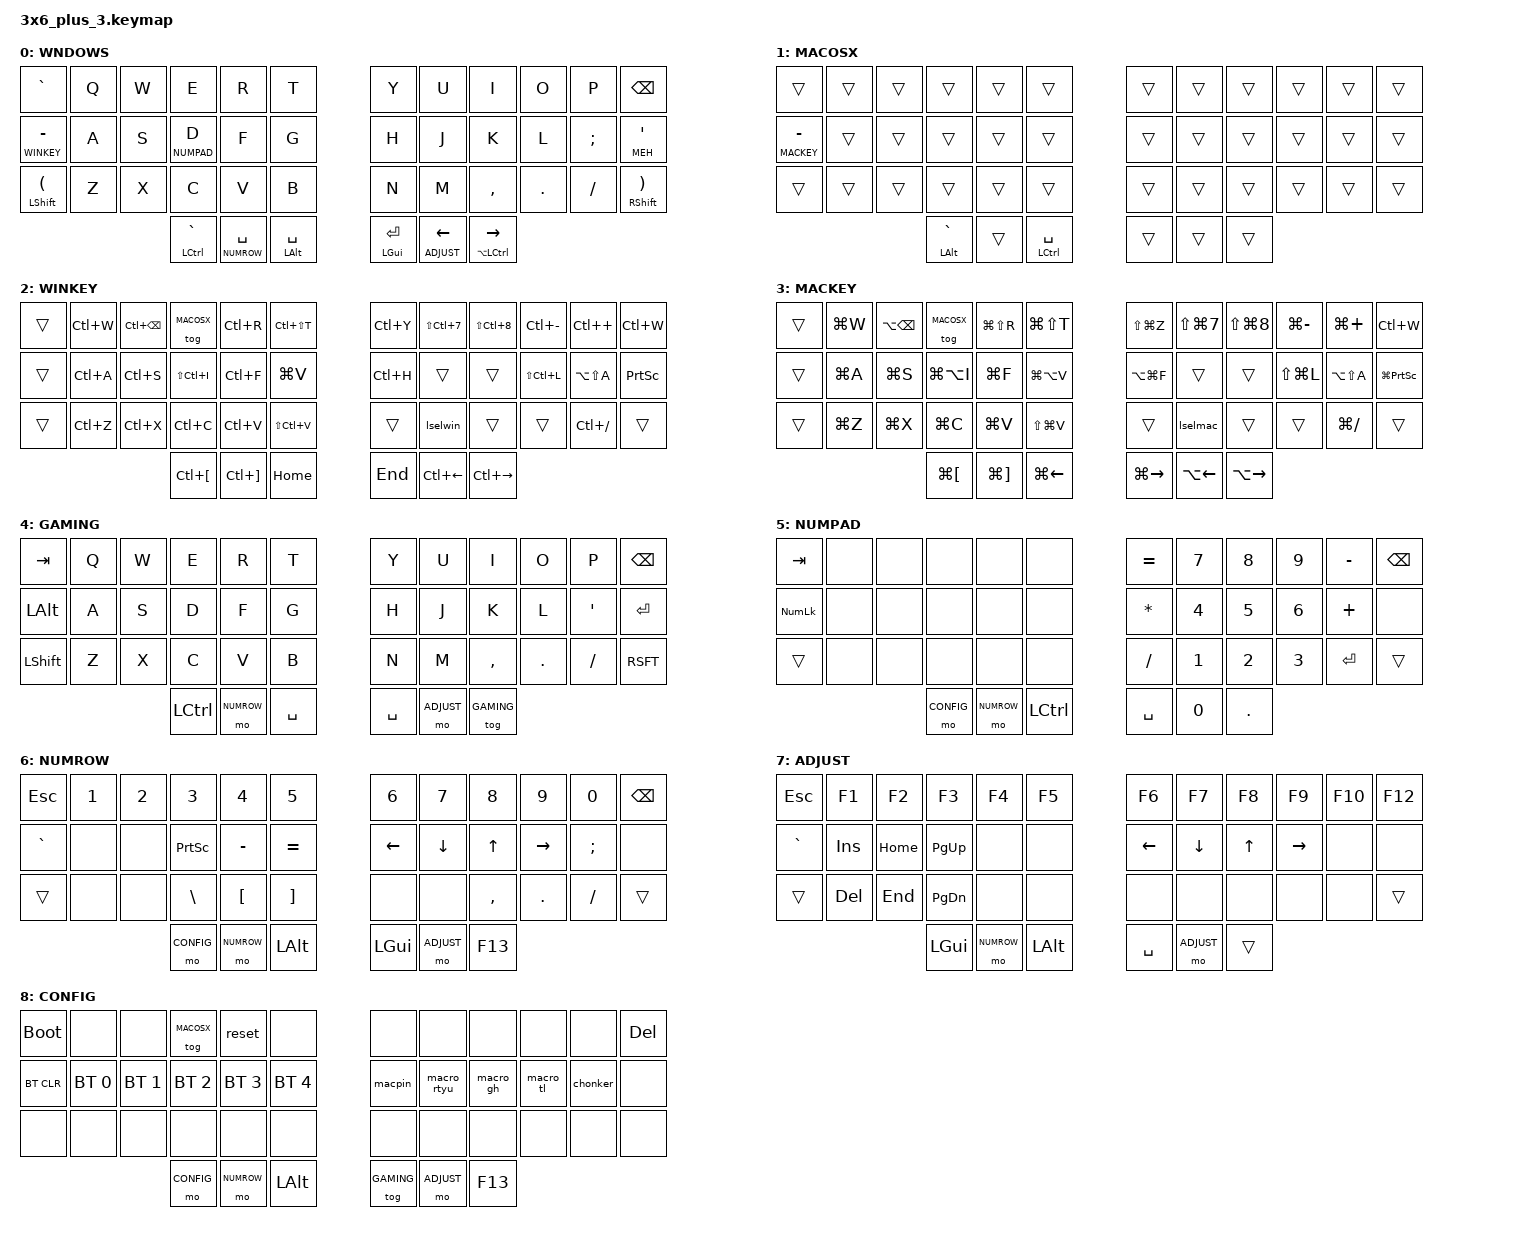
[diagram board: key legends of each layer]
/*
*
* Copyright (c) 2021 scrthq
* SPDX-License-Identifier: MIT
*
*/

#include <behaviors.dtsi>
#include <dt-bindings/zmk/keys.h>
#include <dt-bindings/zmk/bt.h>

#include "include_macros.h"
#include "include_layers.h"

&mt {
    quick-tap-ms = <200>;
};

&lt {
    flavor = "balanced";
    tapping-term-ms = <200>;
    quick-tap-ms = <200>;
};

&caps_word {
    continue-list = <UNDERSCORE MINUS>;
};

/ {
    behaviors {
        macro_rtyu: macro_rtyu {
            compatible = "zmk,behavior-macro";
            label = "mac_rtyu";
            #binding-cells = <0>;
            bindings = mac_rtyu;
        };
        macro_gh: macro_gh {
            compatible = "zmk,behavior-macro";
            label = "mac_gh";
            #binding-cells = <0>;
            bindings = mac_gh;
        };
        macro_test_zeroes: macro_test_zeroes {
            compatible = "zmk,behavior-macro";
            label = "test_zeroes";
            #binding-cells = <0>;
            bindings = test_zeroes;
        };
        macro_tl: macro_tl {
            compatible = "zmk,behavior-macro";
            label = "mac_tl";
            #binding-cells = <0>;
            bindings = mac_tl;
        };
        lselmac: macro_language_select_mac {
            compatible = "zmk,behavior-macro";
            label = "LSELMAC";
            #binding-cells = <0>;
            bindings = <&kp LG(K)>, <&kp M>;
        };
        lselwin: macro_language_select_win {
            compatible = "zmk,behavior-macro";
            label = "LSELWIN";
            #binding-cells = <0>;
            bindings = <&kp LC(K)>, <&kp M>;
        };
        chonker: macro_chonker {
            compatible = "zmk,behavior-macro";
            label = "CHONKER";
            #binding-cells = <0>;
            bindings = chonk;
        };
        macpin: macro_mpin {
            compatible = "zmk,behavior-macro";
            label = "MPIN";
            #binding-cells = <0>;
            bindings = mpin;
        };
        lht: long_hold_tap {
            compatible = "zmk,behavior-hold-tap";
            label = "LONG_HOLDTAP";
            #binding-cells = <2>;
            tapping-term-ms = <200>;
            quick-tap-ms = <100>;
            flavor = "balanced";
            bindings = <&kp>, <&kp>;
        };
    };

    combos {
        compatible = "zmk,combos";

        combo_esc {
            timeout-ms = <50>;
            key-positions = <0 1>;
            bindings = <&kp ESC>;
            layers = <WNDOWS MACOSX>;
        };

        combo_ctgrv {
            timeout-ms = <50>;
            key-positions = <0 1 2>;
            bindings = <&kp LC(GRAVE)>;
            layers = <WNDOWS MACOSX>;
        };

        combo_capsword {
            timeout-ms = <50>;
            key-positions = <12 23>;
            bindings = <&caps_word>;
            layers = <WNDOWS MACOSX>;
        };
    };

    conditional_layers {
        compatible = "zmk,conditional-layers";
    };

    keymap {
        compatible = "zmk,keymap";

        default_layer {
            label = "WNDOWS";
            bindings = <
//+---------+---------+---------+---------+---------+---------+                              +---------+---------+---------+---------+---------+---------+
//!   `     |    Q    |    W    |    E    |    R    |    T    |                              |    Y    |    U    |    I    |    O    |    P    |  BKSPC  |
//+         |         |         |         |         |         |                              |         |         |         |         |         |         |
//+---------|---------|---------|---------|---------|---------|                              |---------|---------|---------|---------|---------|---------|
//!    -    |    A    |    S    |    D    |    F    |    G    |                              |    H    |    J    |    K    |    L    |    ;    |    '    |
//+ >WINKEY |         |         | >NUMPAD |         |         |                              |         |         |         |         |         |   MEH   |
//+---------|---------|---------|---------|---------|---------|                              |---------|---------|---------|---------|---------|---------|
//!    (    |    Z    |    X    |    C    |    V    |    B    |                              |    N    |    M    |    ,    |    .    |    /    |    )    |
//+  SHIFT  |         |         |         |         |         |                              |         |         |         |         |         |  SHIFT  |
//+---------+---------+---------|---------|---------|---------|---------+          +---------|---------|---------|---------|---------+---------+---------+
//!                                       |  GRAVE  |  SPACE  |  SPACE  |          |  ENTER  |   <--   |   -->   |
//+                                       |   CTL   | >NUMROW |   ALT   |          |   GUI   | >ADJUST | CTL+ALT |
//+                                       +---------+---------+---------+          +---------+---------+---------+
&kp GRAVE          &kp Q  &kp W &kp E        &kp R     &kp T                         &kp Y    &kp U     &kp I     &kp O       &kp P    &kp BKSP
&lt WINKEY MINUS &kp A  &kp S &lt NUMPAD D &kp F     &kp G                         &kp H    &kp J     &kp K     &kp L       &kp SEMI &lht MEH SQT
&mt LSHIFT LPAR  &kp Z  &kp X &kp C        &kp V     &kp B                         &kp N    &kp M     &kp CMMA  &kp DOT     &kp FSLH &mt RSHIFT RPAR
            &mt LCTL GRAVE    &lt NUMROW SPC         &mt LALT SPC                  &mt LGUI ENTER     &lt ADJUST LEFT_ARROW          &mt LA(LCTL) RIGHT_ARROW
            >;
        };

        macos_layer {
            label = "MACOSX";
            bindings = <
//+---------+---------+---------+---------+---------+---------+                              +---------+---------+---------+---------+---------+---------+
//!   TAB   |    Q    |    W    |    E    |    R    |    T    |                              |    Y    |    U    |    I    |    O    |    P    |  BKSPC  |
//+         |         |         |         |         |         |                              |         |         |         |         |         |         |
//+---------|---------|---------|---------|---------|---------|                              |---------|---------|---------|---------|---------|---------|
//!    -    |    A    |    S    |    D    |    F    |    G    |                              |    H    |    J    |    K    |    L    |    ;    |    '    |
//+ >MACKEY |         |         | >NUMPAD |         |         |                              |         |         |         |         |         |   MEH   |
//+---------|---------|---------|---------|---------|---------|                              |---------|---------|---------|---------|---------|---------|
//!    (    |    Z    |    X    |    C    |    V    |    B    |                              |    N    |    M    |    ,    |    .    |    /    |    )    |
//+  SHIFT  |         |         |         |         |         |                              |         |         |         |         |         |  SHIFT  |
//+---------+---------+---------|---------|---------|---------|---------+          +---------|---------|---------|---------|---------+---------+---------+
//!                                       |  GRAVE  |  SPACE  |  SPACE  |          |  ENTER  |   <--   |   -->   |
//+                                       |   ALT   | >NUMROW |   CTL   |          |   GUI   | >ADJUST | CTL+ALT |
//+                                       +---------+---------+---------+          +---------+---------+---------+
    &trans    &trans    &trans    &trans    &trans     &trans                        &trans    &trans    &trans    &trans   &trans     &trans
&lt MACKEY MINUS &trans &trans    &trans    &trans     &trans                        &trans    &trans    &trans    &trans   &trans     &trans
    &trans    &trans    &trans    &trans    &trans     &trans                        &trans    &trans    &trans    &trans   &trans     &trans
                            &mt LALT GRAVE  &trans  &mt LCTL SPC                     &trans    &trans    &trans
            >;
        };


        winkey_layer {
            label = "WINKEY";
            bindings = <
//+---------+---------+---------+---------+---------+---------+                              +---------+---------+---------+---------+---------+---------+
//!         |    Q    |    W    |    E    |    R    |    T    |                              |    Y    |    U    |    I    |    O    |    P    |         |
//+         |close tab|del 1 wrd|toggle OS|relod tab|reopn tab|                              |   undo  |ord list |bull list| zoom -  | zoom +  |  CTL+W  |
//+---------|---------|---------|---------|---------|---------|                              |---------|---------|---------|---------|---------|---------|
//!         |    A    |    S    |    D    |    F    |    G    |                              |    H    |    J    |    K    |    L    |    ;    |         |
//+         |selct all|   save  |dev tools|  find   |clipboard|                              |find repl|         |         | hi-light|blok cmnt|prntscrn |
//+---------|---------|---------|---------|---------|---------|                              |---------|---------|---------|---------|---------|---------|
//!         |    Z    |    X    |    C    |    V    |    B    |                              |    N    |    M    |    ,    |    .    |    /    |         |
//+         |  undo   |   cut   |   copy  |  paste  |paste pln|                              |         |lang slct|         |         | cmd + / |         |
//+---------+---------+---------|---------|---------|---------|---------+          +---------|---------|---------|---------|---------+---------+---------+
//!                                       |         |         |         |          |        |   <--   |   -->   |
//+                                       | dedent  |  indent |   home  |          |   end   |left1word|rght1word|
//+                                       +---------+---------+---------+          +---------+---------+---------+
&trans  &kp LC(W) &kp LC(BKSP) &tog MACOSX   &kp LC(R) &kp LC(LS(T))         &kp LC(Y) &kp LS(LC(N7)) &kp LS(LC(N8)) &kp LC(MINUS) &kp LC(PLUS)  &kp LC(W)
&trans  &kp LC(A) &kp LC(S)    &kp LS(LC(I)) &kp LC(F) &kp LG(V)             &kp LC(H) &trans         &trans         &kp LS(LC(L)) &kp LA(LS(A)) &kp PRINTSCREEN
&trans  &kp LC(Z) &kp LC(X)    &kp LC(C)     &kp LC(V) &kp LS(LC(V))         &trans    &lselwin       &trans         &trans        &kp LC(FSLH) &trans
                &kp LC(LEFT_BRACKET) &kp LC(RIGHT_BRACKET)  &kp HOME           &kp END   &kp LC(LEFT)   &kp LC(RIGHT)
            >;
        };

        mackey_layer {
            label = "MACKEY";
            bindings = <
//+---------+---------+---------+---------+---------+---------+                              +---------+---------+---------+---------+---------+---------+
//!   TAB   |    Q    |    W    |    E    |    R    |    T    |                              |    Y    |    U    |    I    |    O    |    P    |         |
//+         |close tab|del 1 wrd|toggle OS|relod tab|reopn tab|                              |   undo  |ord list |bull list| zoom -  | zoom +  |  CTL+W  |
//+---------|---------|---------|---------|---------|---------|                              |---------|---------|---------|---------|---------|---------|
//!         |    A    |    S    |    D    |    F    |    G    |                              |    H    |    J    |    K    |    L    |    ;    |         |
//+         |selct all|   save  |dev tools|  find   |clipboard|                              |find repl|         |         | hi-light|blok cmnt|prntscrn |
//+---------|---------|---------|---------|---------|---------|                              |---------|---------|---------|---------|---------|---------|
//!         |    Z    |    X    |    C    |    V    |    B    |                              |    N    |    M    |    ,    |    .    |    /    |         |
//+         |  undo   |   cut   |   copy  |  paste  |paste pln|                              |         |lang slct|         |         | cmd + / |         |
//+---------+---------+---------|---------|---------|---------|---------+          +---------|---------|---------|---------|---------+---------+---------+
//!                                       |         |         |         |          |         |   <--   |   -->   |
//+                                       | dedent  |  indent |   home  |          |   end   |left1word|rght1word|
//+                                       +---------+---------+---------+          +---------+---------+---------+
&trans   &kp LG(W) &kp LA(BKSP) &tog MACOSX   &kp LG(LS(R)) &kp LG(LS(T))     &kp LS(LG(Z)) &kp LS(LG(N7)) &kp LS(LG(N8)) &kp LG(MINUS) &kp LG(PLUS)  &kp LC(W)
&trans   &kp LG(A) &kp LG(S)    &kp LG(LA(I)) &kp LG(F)     &kp LG(LA(V))     &kp LA(LG(F)) &trans         &trans         &kp LS(LG(L)) &kp LA(LS(A)) &kp LG(PRINTSCREEN)
&trans   &kp LG(Z) &kp LG(X)    &kp LG(C)     &kp LG(V)     &kp LS(LG(V))     &trans        &lselmac       &trans         &trans        &kp LG(FSLH)  &trans
                &kp LG(LEFT_BRACKET) &kp LG(RIGHT_BRACKET)  &kp LG(LEFT)      &kp LG(RIGHT)  &kp LA(LEFT) &kp LA(RIGHT)
            >;
        };

        gaming_layer {
            label = "GAMING";
            bindings = <
//+---------+---------+---------+---------+---------+---------+                              +---------+---------+---------+---------+---------+---------+
//!   TAB   |    Q    |    W    |    E    |    R    |    T    |                              |    Y    |    U    |    I    |    O    |    P    |  BKSPC  |
//+         |         |         |         |         |         |                              |         |         |         |         |         |         |
//+---------|---------|---------|---------|---------|---------|                              |---------|---------|---------|---------|---------|---------|
//!   ALT   |    A    |    S    |    D    |    F    |    G    |                              |    H    |    J    |    K    |    L    |    '    |  ENTER  |
//+         |         |         |         |         |         |                              |         |         |         |         |         |         |
//+---------|---------|---------|---------|---------|---------|                              |---------|---------|---------|---------|---------|---------|
//!  SHIFT  |    Z    |    X    |    C    |    V    |    B    |                              |    N    |    M    |    ,    |    .    |    /    |  SHIFT  |
//+         |         |         |         |         |         |                              |         |         |         |         |         |         |
//+---------+---------+---------|---------|---------|---------|---------+          +---------|---------|---------|---------|---------+---------+---------+
//!                                       |   CTL   | >NUMROW |  SPACE  |          |  SPACE  | >ADJUST | TOGGLE  |
//+                                       |         |         |         |          |         |         | GAMING  |
//+                                       +---------+---------+---------+          +---------+---------+---------+
                &kp TAB   &kp Q &kp W &kp E &kp R &kp T    &kp Y &kp U &kp I    &kp O   &kp P    &kp BKSP
                &kp LALT  &kp A &kp S &kp D &kp F &kp G    &kp H &kp J &kp K    &kp L   &kp QUOT &kp ENTER
                &kp LSHFT &kp Z &kp X &kp C &kp V &kp B    &kp N &kp M &kp CMMA &kp DOT &kp FSLH &kp RSFT
                            &kp LCTL &mo NUMROW &kp SPC    &kp SPC &mo ADJUST &tog GAMING
            >;
        };

        numpad_layer {
            label = "NUMPAD";
            bindings = <
//+---------+---------+---------+---------+---------+---------+                              +---------+---------+---------+---------+---------+---------+
//!   TAB   |         |         |         |         |         |                              |    =    |    7    |    8    |    9    |    -    |  BKSPC  |
//+         |         |         |         |         |         |                              |         |         |         |         |         |         |
//+---------|---------|---------|---------|---------|---------|                              |---------|---------|---------|---------|---------|---------|
//! NUMLOCK |         |         |         |         |         |                              |    *    |    4    |    5    |    6    |    +    |         |
//+         |         |         |         |         |         |                              |         |         |         |         |         |         |
//+---------|---------|---------|---------|---------|---------|                              |---------|---------|---------|---------|---------|---------|
//!  SHIFT  |         |         |         |         |         |                              |    /    |    1    |    2    |    3    |  ENTER  |  SHIFT  |
//+         |         |         |         |         |         |                              |         |         |         |         |         |         |
//+---------+---------+---------|---------|---------|---------|---------+          +---------|---------|---------|---------|---------+---------+---------+
//!                                       | >CONFIG | >NUMROW |  SPACE  |          |  SPACE  |    0    |    .    |
//+                                       |         |         |         |          |         |         |         |
//+                                       +---------+---------+---------+          +---------+---------+---------+
                &kp TAB     &none &none &none &none &none    &kp EQUAL    &kp N7   &kp N8   &kp N9   &kp MINUS &kp BSPC
                &kp KP_NLCK &none &none &none &none &none    &kp ASTERISK &kp N4   &kp N5   &kp N6   &kp PLUS  &none
                &trans      &none &none &none &none &none    &kp FSLH     &kp N1   &kp N2   &kp N3   &kp ENTER &trans
                        &mo CONFIG &mo NUMROW &kp LCTL    &kp SPC &kp N0 &kp DOT
            >;
        };

        numrow_layer {
            label = "NUMROW";
            bindings = <
//+---------+---------+---------+---------+---------+---------+                              +---------+---------+---------+---------+---------+---------+
//!   ESC   |    1    |    2    |    3    |    4    |    5    |                              |    6    |    7    |    8    |    9    |    0    |  BKSPC  |
//+         |         |         |         |         |         |                              |         |         |         |         |         |         |
//+---------|---------|---------|---------|---------|---------|                              |---------|---------|---------|---------|---------|---------|
//!  GRAVE  |         |         | SCRNSHT |    -    |    =    |                              |    ←    |    ↑    |    ↓    |    →    |    +    |         |
//+         |         |         |         |         |         |                              |         |         |         |         |         |         |
//+---------|---------|---------|---------|---------|---------|                              |---------|---------|---------|---------|---------|---------|
//!  SHIFT  |         |         |    \    |    [    |    ]    |                              |         |         |    ,    |    .    |    /    |  SHIFT  |
//+         |         |         |         |         |         |                              |         |         |         |         |         |         |
//+---------+---------+---------|---------|---------|---------|---------+          +---------|---------|---------|---------|---------+---------+---------+
//!                                       | >CONFIG | >NUMROW |  SPACE  |          |   GUI   | >ADJUST |    .    |
//+                                       |         |         |         |          |         |         |         |
//+                                       +---------+---------+---------+          +---------+---------+---------+
    &kp ESC   &kp N1 &kp N2 &kp N3    &kp N4    &kp N5                                       &kp N6   &kp N7   &kp N8 &kp N9    &kp N0   &kp BSPC
    &kp GRAVE &none  &none  &kp PSCRN &kp MINUS &kp EQUAL                                    &kp LEFT &kp DOWN &kp UP &kp RIGHT &kp SEMI &none
    &trans    &none  &none  &kp BSLH  &kp LBKT  &kp RBKT                                     &none    &none    &kp CMMA &kp DOT &kp FSLH &trans
                                         &mo CONFIG &mo NUMROW &kp LALT            &kp LGUI &mo ADJUST &kp F13
            >;
        };

        adjust_layer {
            label = "ADJUST";
            bindings = <
//+---------+---------+---------+---------+---------+---------+                              +---------+---------+---------+---------+---------+---------+
//!   ESC   |   F1    |   F2    |   F3    |   F4    |   F5    |                              |   F6    |   F7    |   F8    |   F9    |   F10   |   F12   |
//+         |         |         |         |         |         |                              |         |         |         |         |         |         |
//+---------|---------|---------|---------|---------|---------|                              |---------|---------|---------|---------|---------|---------|
//!  GRAVE  |         |         | SCRNSHT |    -    |    =    |                              |    ←    |    ↑    |    ↓    |    →    |         |         |
//+         |         |         |         |         |         |                              |         |         |         |         |         |         |
//+---------|---------|---------|---------|---------|---------|                              |---------|---------|---------|---------|---------|---------|
//!  SHIFT  |         |         |    \    |    [    |    ]    |                              |         |         |         |         |         |  SHIFT  |
//+         |         |         |         |         |         |                              |         |         |         |         |         |         |
//+---------+---------+---------|---------|---------|---------|---------+          +---------|---------|---------|---------|---------+---------+---------+
//!                                       | >CONFIG | >NUMROW |  SPACE  |          |   GUI   | >ADJUST |  trans  |
//+                                       |         |         |         |          |         |         |         |
//+                                       +---------+---------+---------+          +---------+---------+---------+
                &kp ESC       &kp F1  &kp F2   &kp F3    &kp F4 &kp F5    &kp F6   &kp F7   &kp F8 &kp F9    &kp F10 &kp F12
                &kp GRAVE     &kp INS &kp HOME &kp PG_UP &none  &none     &kp LEFT &kp DOWN &kp UP &kp RIGHT &none   &none
                &trans        &kp DEL &kp END  &kp PG_DN &none  &none     &none    &none    &none  &none     &none   &trans
                                    &kp LGUI &mo NUMROW &kp LALT    &kp SPC &mo ADJUST &trans
            >;
        };

        config_layer {
            label = "CONFIG";
            bindings = <
//+---------+---------+---------+---------+---------+---------+                              +---------+---------+---------+---------+---------+---------+
//! BOOTLDR |         |         |  TOGGLE |  RESET  |         |                              |         |         |         |         |         | DELETE  |
//+         |         |         | MAC/WIN |         |         |                              |         |         |         |         |         |         |
//+---------|---------|---------|---------|---------|---------|                              |---------|---------|---------|---------|---------|---------|
//! BT CLR  |BT SEL 0 |BT SEL 1 |BT SEL 2 |BT SEL 3 |BT SEL 4 |                              | MACRO 0 | MACRO 1 | MACRO 2 | MACRO 3 | MACRO 4 |         |
//+         |         |         |         |         |         |                              |         |         |         |         |         |         |
//+---------|---------|---------|---------|---------|---------|                              |---------|---------|---------|---------|---------|---------|
//!         |         |         |         |         |         |                              |         |         |         |         |         |         |
//+         |         |         |         |         |         |                              |         |         |         |         |         |         |
//+---------+---------+---------|---------|---------|---------|---------+          +---------|---------|---------|---------|---------+---------+---------+
//!                                       | >CONFIG | >NUMROW |   ALT   |          | TOGGLE  | >ADJUST |   F13   |
//+                                       |         |         |         |          | GAMING  |         |         |
//+                                       +---------+---------+---------+          +---------+---------+---------+
                &bootloader &none     &none        &tog MACOSX  &reset       &none              &none   &none       &none     &none     &none    &kp DELETE
                &bt BT_CLR  &bt BT_SEL 0 &bt BT_SEL 1 &bt BT_SEL 2 &bt BT_SEL 3 &bt BT_SEL 4    &macpin &macro_rtyu &macro_gh &macro_tl &chonker &none
                &none       &none        &none        &none        &none        &none           &none   &none       &none     &none     &none    &none
                                    &mo CONFIG &mo NUMROW &kp LALT                                &tog GAMING      &mo ADJUST     &kp F13
            >;
        };
    };
};
